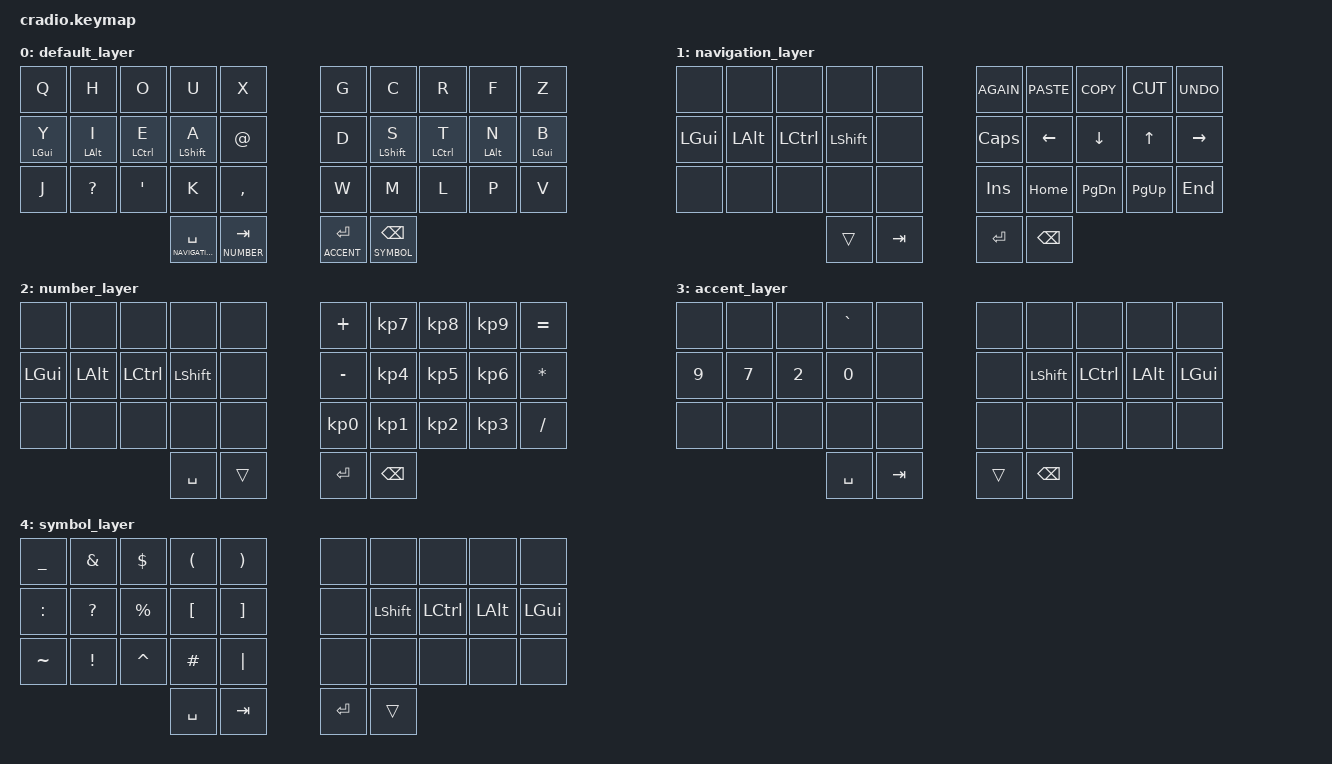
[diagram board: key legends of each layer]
/*
 * Copyright (c) 2020 The ZMK Contributors
 *
 * SPDX-License-Identifier: MIT
 */

#include <behaviors.dtsi>
#include <dt-bindings/zmk/keys.h>
#include <dt-bindings/zmk/bt.h>


#define DEFAULT 0
#define NAVIGATION 1
#define NUMBER 2
#define ACCENT 3
#define SYMBOL 4

// Using layer taps on thumbs, having quick tap as well helps w/ repeating space/backspace
&lt { quick_tap_ms = <200>; };

&mt {
  //  flavor = "tap-preferred";
   // tapping_term_ms = <200>;
};

/ { 
    behaviors {
        hm: homerow_mods {
            compatible = "zmk,behavior-hold-tap";
            label = "homerow mods";
            #binding-cells = <2>;
            tapping_term_ms = <200>;
            flavor = "tap-preferred";
            bindings = <&kp>, <&kp>;
        };
    };

    combos {
        compatible = "zmk,combos";
        combo_esc {
            timeout-ms = <50>;
            key-positions = <0 1>;
            bindings = <&kp ESC>;
        };
        
        combo_tab {
            timeout-ms = <50>;
            key-positions = <10 11>;
            bindings = <&kp TAB>;
        };
        
        combo_ralt {
            timeout-ms = <50>;
            key-positions = <17 16>;
            bindings = <&kp RALT>;
        };
        
        combo_lalt {
            timeout-ms = <50>;
            key-positions = <11 12>;
            bindings = <&kp LALT>;
        };
        
        combo_lgui {
            timeout-ms = <50>;
            key-positions = <12 13>;
            bindings = <&kp LGUI>;
        };
        
        
        combo_rgui {
            timeout-ms = <50>;
            key-positions = <17 18>;
            bindings = <&kp RGUI>;
        };
    };

        keymap {
                compatible = "zmk,keymap";
                
       	default_layer {
            bindings = <
                &kp Q      &kp H        &kp O            &kp U                 &kp X              &kp G             &kp C                 &kp R       &kp F      &kp Z
                &hm LGUI Y &hm LALT I   &hm LCTRL E      &hm LSHFT A           &kp AT             &kp D             &hm LSHFT S           &hm LCTRL T &hm LALT N &hm LGUI B
                &kp J      &kp QUESTION &kp SINGLE_QUOTE &kp K                 &kp COMMA          &kp W             &kp M                 &kp L       &kp P      &kp V
                                                         &lt NAVIGATION SPACE  &lt NUMBER TAB     &lt ACCENT ENTER  &lt SYMBOL BACKSPACE
            >;
        };

        navigation_layer {
            bindings = <
                &none      &none        &none            &none                 &none              &kp K_AGAIN       &kp K_PASTE           &kp K_COPY     &kp K_CUT    &kp K_UNDO
                &kp LGUI   &kp LALT     &kp LCTRL        &kp LSHFT             &none              &kp CAPSLOCK      &kp LEFT              &kp DOWN       &kp UP       &kp RIGHT
                &none      &none        &none            &none                 &none              &kp INSERT        &kp HOME              &kp PAGE_DOWN  &kp PAGE_UP  &kp END
                                                         &trans                &kp TAB            &kp ENTER         &kp BACKSPACE
            >;
        };

        number_layer {
            bindings = <
                &none      &none        &none            &none                 &none              &kp PLUS      &kp KP_N7           &kp KP_N8     &kp KP_N9       &kp EQUAL
                &kp LGUI   &kp LALT     &kp LCTRL        &kp LSHFT             &none              &kp MINUS     &kp KP_N4           &kp KP_N5     &kp KP_N6       &kp ASTERISK
                &none      &none        &none            &none                 &none              &kp KP_N0     &kp KP_N1           &kp KP_N2     &kp KP_N3       &kp SLASH
                                                         &kp SPACE             &trans             &kp ENTER     &kp BACKSPACE
            >;
        };

        accent_layer {
            bindings = <
                &none      &none        &none            &kp GRAVE             &none              &none         &none          &none      &none       &none
                &kp 9      &kp 7        &kp 2            &kp 0                 &none              &none         &kp LSHFT      &kp LCTRL  &kp LALT    &kp LGUI
                &none      &none        &none            &none                 &none              &none         &none          &none      &none       &none
                                                         &kp SPACE             &kp TAB            &trans        &kp BACKSPACE
            >;
        };

        symbol_layer {
            bindings = <
                &kp UNDERSCORE  &kp AMPERSAND    &kp DOLLAR   &kp LPAR   &kp RPAR           &none         &none          &none      &none       &none
                &kp COLON       &kp QUESTION     &kp PERCENT  &kp LBKT   &kp RBKT           &none         &kp LSHFT      &kp LCTRL  &kp LALT    &kp LGUI
                &kp TILDE       &kp EXCLAMATION  &kp CARET    &kp HASH   &kp PIPE           &none         &none          &none      &none       &none
                                                              &kp SPACE  &kp TAB            &kp ENTER     &trans
            >;
        };
	};
};
